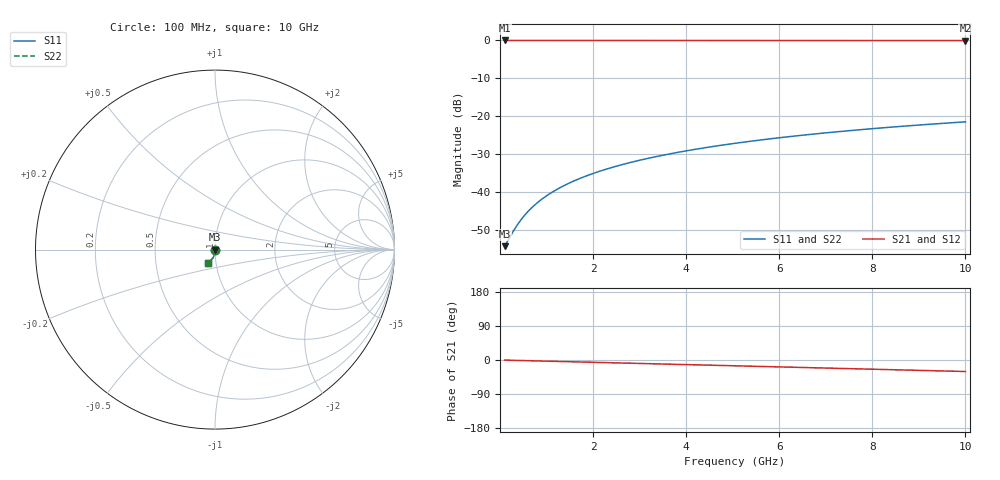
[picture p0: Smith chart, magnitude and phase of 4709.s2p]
# Hz S RI R 50.00
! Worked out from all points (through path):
!   100 points, 100 MHz to 10 GHz, reference 50 ohm
!   highest |S21| = -0.02 dB at 100 MHz (marker M1); lowest = -0.1 dB at 10 GHz (marker M2)
!   group delay of S21, straight-line fit = 8.44 ps
!   lowest |S11| = -54.2 dB at 100 MHz (marker M3), VSWR 1.00, Z = 50.2 - j0.0892 ohm
!   |S11| at or under -10 dB: start of sweep to end of sweep
!   |S22| runs from -54.2 to -21.5 dB; largest |S21 - S12| = 0
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1e8  0.00174 -0.000889  0.9982 -0.00528  0.9982 -0.00528  0.00174 -0.000889
3e8  0.00171 -0.00267  0.9981 -0.0158  0.9981 -0.0158  0.00171 -0.00267
4e8  0.00168 -0.00355  0.998 -0.0211  0.998 -0.0211  0.00168 -0.00355
5e8  0.00165 -0.00444  0.9978 -0.0264  0.9978 -0.0264  0.00165 -0.00444
6e8  0.0016 -0.00533  0.9977 -0.0317  0.9977 -0.0317  0.0016 -0.00533
7e8  0.00154 -0.00622  0.9975 -0.0369  0.9975 -0.0369  0.00154 -0.00622
8e8  0.00147 -0.0071  0.9973 -0.0422  0.9973 -0.0422  0.00147 -0.0071
1e9  0.0013 -0.00887  0.9967 -0.0527  0.9967 -0.0527  0.0013 -0.00887
1.2e9  0.0011 -0.0106  0.9961 -0.0633  0.9961 -0.0633  0.0011 -0.0106
1.5e9  0.000721 -0.0133  0.9949 -0.0791  0.9949 -0.0791  0.000721 -0.0133
1.8e9  0.00026 -0.0159  0.9935 -0.0949  0.9935 -0.0949  0.00026 -0.0159
2.1e9  -0.000286 -0.0185  0.9918 -0.1106  0.9918 -0.1106  -0.000286 -0.0185
2.5e9  -0.00114 -0.022  0.9891 -0.1316  0.9891 -0.1316  -0.00114 -0.022
2.9e9  -0.00215 -0.0254  0.986 -0.1525  0.986 -0.1525  -0.00215 -0.0254
3.4e9  -0.0036 -0.0297  0.9815 -0.1785  0.9815 -0.1785  -0.0036 -0.0297
4.2e9  -0.0064 -0.0362  0.9728 -0.2199  0.9728 -0.2199  -0.0064 -0.0362
5.1e9  -0.0102 -0.0434  0.9608 -0.2659  0.9608 -0.2659  -0.0102 -0.0434
5.9e9  -0.0141 -0.0494  0.9483 -0.3064  0.9483 -0.3064  -0.0141 -0.0494
6.7e9  -0.0186 -0.055  0.934 -0.3462  0.934 -0.3462  -0.0186 -0.055
7.5e9  -0.0235 -0.0603  0.9181 -0.3854  0.9181 -0.3854  -0.0235 -0.0603
8.4e9  -0.0295 -0.0657  0.8981 -0.4286  0.8981 -0.4286  -0.0295 -0.0657
1e10  -0.0413 -0.0738  0.8575 -0.5029  0.8575 -0.5029  -0.0413 -0.0738
